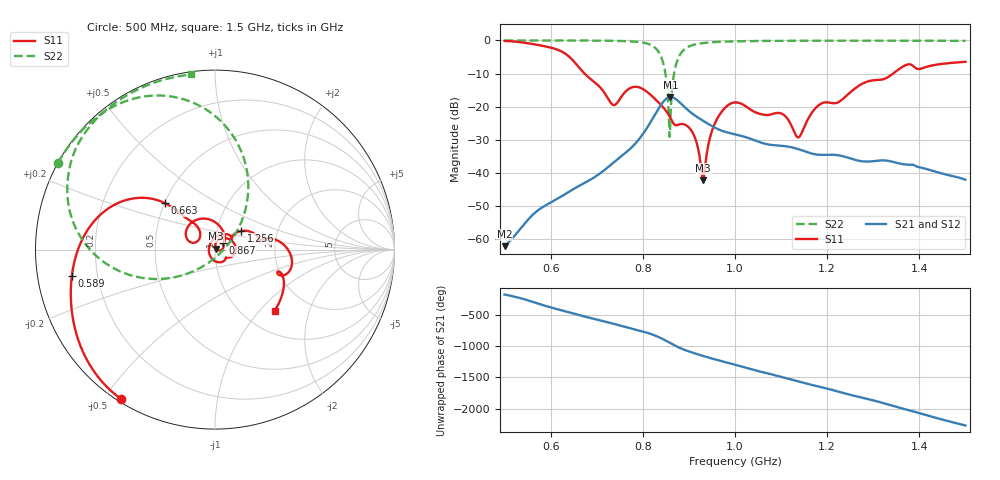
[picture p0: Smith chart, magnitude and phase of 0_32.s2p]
! TOUCHSTONE file generated by CST MICROWAVE STUDIO
! Date and time: Sat Oct 24 11:16:35 2020
! Project name: Scenario_1_Circular_Tissue_in_Line.cst
! Parameters = {L_HA=400; MT=2.54; Rad_Dielectric=30; Rad_Lower=7.3; Rad_Upper=30; a_HA=580; a_WG=246; b_HA=500; b_WG=121; c_HA=0; c_WG=187; d_feed=85; dx1=709.92; h_feed=15; h_lower=18; h_upper=40}
! Header version: 2018
! Port assignment regex: !\s*Touchstone port\s*([0-9]+)\s*=\s*(CST MWS port|CST DS port)\s*([0-9]+|Zmin|Zmax)\s*\(\"(.*)\"\)(\s*mode\s*([0-9]+))?.*
! Touchstone port assignment:
! Touchstone port 1 = CST MWS port 1 ("")
! Touchstone port 2 = CST MWS port 2 ("")
# GHz S DB R 50
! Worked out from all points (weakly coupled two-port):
!   1003 points, 500 MHz to 1.5 GHz, reference 50 ohm
!   highest |S21| = -17.10 dB at 860 MHz (marker M1); lowest = -62.2 dB at 500 MHz (marker M2)
!   lowest |S11| = -42.3 dB at 931 MHz (marker M3), VSWR 1.02, Z = 50.6 + j0.506 ohm
!   |S11| at or under -10 dB: 673.4 MHz to 1.343 GHz (669.8 MHz wide, 66.4 % of centre)
!   |S22| runs from -29.1 to 0.0 dB; largest |S21 - S12| = 0.00056
!   S11 on the Smith chart (normalised r, x): 500 MHz: 0.01, -0.55; 589 MHz: 0.10, -0.09; 663 MHz: 0.50, +0.30; 867 MHz: 1.09, +0.08; 1.256 GHz: 1.30, +0.28; 1.5 GHz: 1.38, -1.21
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0.5  -0.15 -122.3  -62.18 -176.0  -62.18 -176.0  -0.01 151.1
0.589  -1.81 -169.5  -49.85 2.5  -49.84 2.4  -0.02 144.9
0.663  -8.41 137.1  -43.85 -146.2  -43.85 -146.2  -0.04 138.7
0.667  -9.04 136.0  -43.55 -153.9  -43.55 -153.9  -0.04 138.3
0.735  -19.45 143.5  -37.09 79.6  -37.09 79.6  -0.12 130.1
0.783  -14.02 134.3  -31.28 -12.5  -31.27 -12.5  -0.36 119.3
0.834  -18.73 68.5  -20.63 -133.6  -20.63 -133.7  -3.43 83.7
0.848  -20.86 52.5  -17.96 175.4  -17.97 175.4  -9.24 58.1
0.855  -22.23 44.6  -17.26 147.0  -17.26 147.0  -18.63 32.8
0.86  -23.46 40.4  -17.10 126.4  -17.10 126.4  -22.87 -112.0
0.867  -25.18 40.1  -17.34 98.4  -17.34 98.4  -10.64 -147.5
0.885  -25.25 35.4  -19.38 36.8  -19.39 36.9  -3.43 -178.0
0.907  -27.60 3.6  -22.08 -21.7  -22.08 -21.6  -1.45 164.0
0.931  -42.27 40.5  -24.30 -77.2  -24.30 -77.2  -0.80 153.9
0.957  -24.86 69.6  -26.40 -132.4  -26.40 -132.4  -0.49 147.4
1  -18.73 5.0  -28.36 143.0  -28.36 143.0  -0.27 140.2
1.103  -22.24 -65.5  -31.87 -55.9  -31.87 -55.9  -0.12 129.4
1.137  -29.31 176.6  -32.83 -124.2  -32.83 -124.2  -0.10 126.5
1.167  -21.80 75.1  -34.21 -179.7  -34.19 -179.8  -0.09 124.1
1.256  -15.00 35.7  -35.90 11.5  -35.91 11.5  -0.08 117.3
1.334  -10.93 12.5  -36.43 -136.0  -36.43 -136.0  -0.09 111.4
1.5  -6.46 -45.6  -42.08 -106.8  -42.08 -106.8  -0.13 97.8
